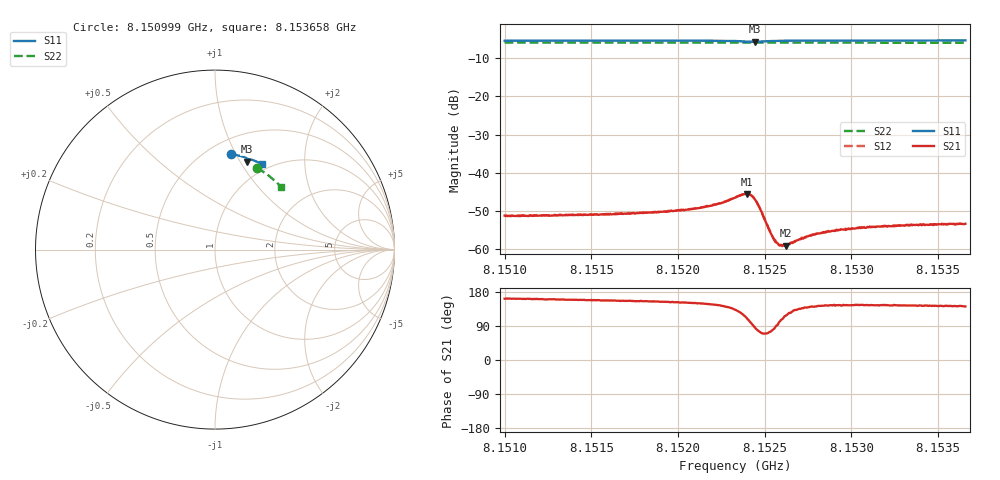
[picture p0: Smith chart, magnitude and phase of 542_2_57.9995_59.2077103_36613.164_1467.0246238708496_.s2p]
#  HZ  S  RI  R  50.00
! Rohde & Schwarz Vector Network Analyzer
! Rohde-Schwarz,ZNB20-2Port,1311601062101988,3.16
! Created: UTC 3/21/2024, 1:14:38 AM
! freq[Hz]  re:S11  im:S11  re:S21  im:S21  re:S12  im:S12  re:S22  im:S22
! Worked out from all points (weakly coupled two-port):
!   401 points, 8.150999 GHz to 8.153658 GHz, reference 50 ohm
!   highest |S21| = -45.57 dB at 8.152395 GHz (marker M1); lowest = -59.2 dB at 8.152621 GHz (marker M2)
!   lowest |S11| = -5.7 dB at 8.152441 GHz (marker M3), VSWR 3.18, Z = 39.8 + j53.5 ohm
!   |S11| at or under -10 dB: nowhere
!   |S22| runs from -5.9 to -5.8 dB; largest |S21 - S12| = 0.00011
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8.1509989e9  0.0907 0.5316  -0.00259 0.000857  -0.00258 0.000857  0.2342 0.4541
8.1514443e9  0.1215 0.5262  -0.00259 0.00102  -0.0026 0.00108  0.259 0.4398
8.1518897e9  0.1527 0.5184  -0.00272 0.00132  -0.00275 0.00139  0.2829 0.424
8.1521356e9  0.1709 0.5125  -0.00299 0.00177  -0.00298 0.00184  0.2956 0.4149
8.1522487e9  0.1799 0.5075  -0.00318 0.00238  -0.00321 0.00244  0.3014 0.4104
8.1523284e9  0.1862 0.5011  -0.00319 0.00343  -0.00318 0.00349  0.3055 0.4072
8.1523949e9  0.1859 0.4915  -0.00191 0.00491  -0.00185 0.00497  0.3083 0.4044
8.1524148e9  0.1829 0.4895  -0.000979 0.00506  -0.000939 0.00508  0.3091 0.4036
8.1524414e9  0.1781 0.4901  0.000251 0.00452  0.000299 0.00455  0.3103 0.4025
8.152468e9  0.1758 0.4942  0.000895 0.00343  0.000974 0.00345  0.3114 0.4017
8.1525345e9  0.1808 0.5022  0.000418 0.00154  0.000435 0.00158  0.3149 0.3995
8.1525544e9  0.183 0.503  0.000167 0.0013  0.000164 0.00133  0.3159 0.3985
8.1525677e9  0.1846 0.5035  -1.96e-05 0.00121  2.07e-06 0.00118  0.3166 0.3981
8.1525877e9  0.1868 0.5038  -0.000231 0.0011  -0.000205 0.00108  0.3178 0.3975
8.152601e9  0.1881 0.5039  -0.00034 0.00105  -0.000288 0.00105  0.3183 0.3968
8.1526209e9  0.1902 0.5038  -0.000499 0.000984  -0.000505 0.00102  0.3194 0.396
8.1527738e9  0.2033 0.5012  -0.00119 0.000951  -0.00118 0.000996  0.3268 0.3897
8.1528536e9  0.2093 0.4992  -0.00134 0.000969  -0.00135 0.00101  0.3307 0.3862
8.1529533e9  0.2164 0.4967  -0.00148 0.00101  -0.00149 0.00106  0.3355 0.3821
8.1532192e9  0.2341 0.4894  -0.00161 0.00117  -0.00161 0.00118  0.3476 0.3704
8.1533588e9  0.2431 0.4853  -0.00167 0.00123  -0.00169 0.00126  0.354 0.3642
8.1536579e9  0.262 0.476  -0.00167 0.00133  -0.00166 0.00133  0.3671 0.3503
